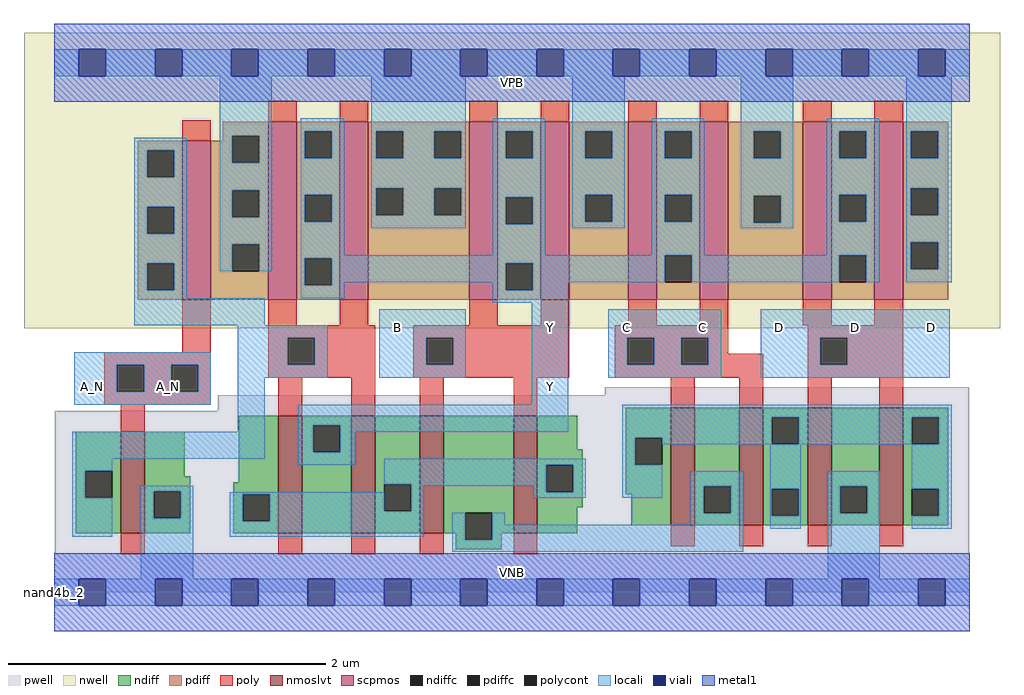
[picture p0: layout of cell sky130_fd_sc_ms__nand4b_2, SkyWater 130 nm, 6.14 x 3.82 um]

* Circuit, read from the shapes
.subckt sky130_fd_sc_ms__nand4b_2 A_N B C D VGND VNB VPB VPWR Y
XM1 VGND A_N n1 VNB sky130_fd_pr__nfet_01v8_lvt w=0.64 l=0.15
XM2 Y n1 n2 VNB sky130_fd_pr__nfet_01v8_lvt w=0.74 l=0.15 m=2
XM3 n3 B n2 VNB sky130_fd_pr__nfet_01v8_lvt w=0.74 l=0.15 m=2
XM4 n3 C n4 VNB sky130_fd_pr__nfet_01v8_lvt w=0.74 l=0.15 m=2
XM5 VGND D n4 VNB sky130_fd_pr__nfet_01v8_lvt w=0.74 l=0.15 m=2
XM6 VPWR A_N n1 VPB sky130_fd_pr__pfet_01v8 w=1 l=0.18
XM7 Y n1 VPWR VPB sky130_fd_pr__pfet_01v8 w=1.12 l=0.18 m=2
XM8 Y B VPWR VPB sky130_fd_pr__pfet_01v8 w=1.12 l=0.18 m=2
XM9 Y C VPWR VPB sky130_fd_pr__pfet_01v8 w=1.12 l=0.18 m=2
XM10 Y D VPWR VPB sky130_fd_pr__pfet_01v8 w=1.12 l=0.18 m=2
.ends

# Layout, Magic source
magic
tech sky130A
magscale 1 2
<< nwell >>
rect -38 332 1190 704
<< pwell >>
rect 693 248 1151 258
rect 206 228 1151 248
rect 1 49 1151 228
rect 0 0 1152 49
<< scpmos >>
rect 161 368 197 568
rect 269 368 305 592
rect 359 368 395 592
rect 522 368 558 592
rect 612 368 648 592
rect 722 368 758 592
rect 812 368 848 592
rect 942 368 978 592
rect 1032 368 1068 592
<< nmoslvt >>
rect 84 74 114 202
rect 282 74 312 222
rect 374 74 404 222
rect 460 74 490 222
rect 578 74 608 222
rect 776 84 806 232
rect 862 84 892 232
rect 948 84 978 232
rect 1038 84 1068 232
<< ndiff >>
rect 27 153 84 202
rect 27 119 39 153
rect 73 119 84 153
rect 27 74 84 119
rect 114 146 164 202
rect 114 127 171 146
rect 232 138 282 222
rect 114 93 125 127
rect 159 93 171 127
rect 114 74 171 93
rect 225 123 282 138
rect 225 89 237 123
rect 271 89 282 123
rect 225 74 282 89
rect 312 210 374 222
rect 312 176 326 210
rect 360 176 374 210
rect 312 74 374 176
rect 404 136 460 222
rect 404 102 415 136
rect 449 102 460 136
rect 404 74 460 102
rect 490 100 578 222
rect 490 74 517 100
rect 505 66 517 74
rect 551 74 578 100
rect 608 180 658 222
rect 719 194 776 232
rect 608 160 665 180
rect 608 126 619 160
rect 653 126 665 160
rect 608 107 665 126
rect 719 160 731 194
rect 765 160 776 194
rect 719 123 776 160
rect 608 74 658 107
rect 726 84 776 123
rect 806 133 862 232
rect 806 99 817 133
rect 851 99 862 133
rect 806 84 862 99
rect 892 220 948 232
rect 892 186 903 220
rect 937 186 948 220
rect 892 130 948 186
rect 892 96 903 130
rect 937 96 948 130
rect 892 84 948 96
rect 978 133 1038 232
rect 978 99 989 133
rect 1023 99 1038 133
rect 978 84 1038 99
rect 1068 220 1125 232
rect 1068 186 1079 220
rect 1113 186 1125 220
rect 1068 130 1125 186
rect 1068 96 1079 130
rect 1113 96 1125 130
rect 1068 84 1125 96
rect 551 66 563 74
rect 505 54 563 66
<< pdiff >>
rect 212 574 269 592
rect 212 568 224 574
rect 105 556 161 568
rect 105 522 117 556
rect 151 522 161 556
rect 105 485 161 522
rect 105 451 117 485
rect 151 451 161 485
rect 105 414 161 451
rect 105 380 117 414
rect 151 380 161 414
rect 105 368 161 380
rect 197 540 224 568
rect 258 540 269 574
rect 197 506 269 540
rect 197 472 224 506
rect 258 472 269 506
rect 197 438 269 472
rect 197 404 224 438
rect 258 404 269 438
rect 197 368 269 404
rect 305 580 359 592
rect 305 546 315 580
rect 349 546 359 580
rect 305 500 359 546
rect 305 466 315 500
rect 349 466 359 500
rect 305 420 359 466
rect 305 386 315 420
rect 349 386 359 420
rect 305 368 359 386
rect 395 580 522 592
rect 395 546 405 580
rect 439 546 478 580
rect 512 546 522 580
rect 395 508 522 546
rect 395 474 405 508
rect 439 474 478 508
rect 512 474 522 508
rect 395 368 522 474
rect 558 580 612 592
rect 558 546 568 580
rect 602 546 612 580
rect 558 497 612 546
rect 558 463 568 497
rect 602 463 612 497
rect 558 414 612 463
rect 558 380 568 414
rect 602 380 612 414
rect 558 368 612 380
rect 648 580 722 592
rect 648 546 668 580
rect 702 546 722 580
rect 648 500 722 546
rect 648 466 668 500
rect 702 466 722 500
rect 648 368 722 466
rect 758 580 812 592
rect 758 546 768 580
rect 802 546 812 580
rect 758 500 812 546
rect 758 466 768 500
rect 802 466 812 500
rect 758 424 812 466
rect 758 390 768 424
rect 802 390 812 424
rect 758 368 812 390
rect 848 580 942 592
rect 848 546 880 580
rect 914 546 942 580
rect 848 499 942 546
rect 848 465 880 499
rect 914 465 942 499
rect 848 368 942 465
rect 978 580 1032 592
rect 978 546 988 580
rect 1022 546 1032 580
rect 978 500 1032 546
rect 978 466 988 500
rect 1022 466 1032 500
rect 978 424 1032 466
rect 978 390 988 424
rect 1022 390 1032 424
rect 978 368 1032 390
rect 1068 580 1125 592
rect 1068 546 1078 580
rect 1112 546 1125 580
rect 1068 508 1125 546
rect 1068 474 1078 508
rect 1112 474 1125 508
rect 1068 440 1125 474
rect 1068 406 1078 440
rect 1112 406 1125 440
rect 1068 368 1125 406
<< ndiffc >>
rect 39 119 73 153
rect 125 93 159 127
rect 237 89 271 123
rect 326 176 360 210
rect 415 102 449 136
rect 517 66 551 100
rect 619 126 653 160
rect 731 160 765 194
rect 817 99 851 133
rect 903 186 937 220
rect 903 96 937 130
rect 989 99 1023 133
rect 1079 186 1113 220
rect 1079 96 1113 130
<< pdiffc >>
rect 117 522 151 556
rect 117 451 151 485
rect 117 380 151 414
rect 224 540 258 574
rect 224 472 258 506
rect 224 404 258 438
rect 315 546 349 580
rect 315 466 349 500
rect 315 386 349 420
rect 405 546 439 580
rect 478 546 512 580
rect 405 474 439 508
rect 478 474 512 508
rect 568 546 602 580
rect 568 463 602 497
rect 568 380 602 414
rect 668 546 702 580
rect 668 466 702 500
rect 768 546 802 580
rect 768 466 802 500
rect 768 390 802 424
rect 880 546 914 580
rect 880 465 914 499
rect 988 546 1022 580
rect 988 466 1022 500
rect 988 390 1022 424
rect 1078 546 1112 580
rect 1078 474 1112 508
rect 1078 406 1112 440
<< poly >>
rect 161 568 197 594
rect 269 592 305 618
rect 359 592 395 618
rect 522 592 558 618
rect 612 592 648 618
rect 722 592 758 618
rect 812 592 848 618
rect 942 592 978 618
rect 1032 592 1068 618
rect 161 302 197 368
rect 63 286 197 302
rect 63 252 79 286
rect 113 252 147 286
rect 181 252 197 286
rect 269 336 305 368
rect 359 336 395 368
rect 522 336 558 368
rect 612 336 648 368
rect 722 336 758 368
rect 812 336 848 368
rect 942 336 978 368
rect 1032 336 1068 368
rect 269 320 404 336
rect 269 286 294 320
rect 328 286 404 320
rect 269 270 404 286
rect 452 320 648 336
rect 452 286 468 320
rect 502 286 648 320
rect 452 270 648 286
rect 705 320 848 336
rect 705 286 721 320
rect 755 286 789 320
rect 823 300 848 320
rect 948 320 1068 336
rect 823 286 892 300
rect 705 270 892 286
rect 63 236 197 252
rect 84 202 114 236
rect 282 222 312 270
rect 374 222 404 270
rect 460 222 490 270
rect 578 222 608 270
rect 776 232 806 270
rect 862 232 892 270
rect 948 286 964 320
rect 998 286 1068 320
rect 948 270 1068 286
rect 948 232 978 270
rect 1038 232 1068 270
rect 84 48 114 74
rect 282 48 312 74
rect 374 48 404 74
rect 460 48 490 74
rect 578 48 608 74
rect 776 58 806 84
rect 862 58 892 84
rect 948 58 978 84
rect 1038 58 1068 84
<< polycont >>
rect 79 252 113 286
rect 147 252 181 286
rect 294 286 328 320
rect 468 286 502 320
rect 721 286 755 320
rect 789 286 823 320
rect 964 286 998 320
<< locali >>
rect 0 649 31 683
rect 65 649 127 683
rect 161 649 223 683
rect 257 649 319 683
rect 353 649 415 683
rect 449 649 511 683
rect 545 649 607 683
rect 641 649 703 683
rect 737 649 799 683
rect 833 649 895 683
rect 929 649 991 683
rect 1025 649 1087 683
rect 1121 649 1152 683
rect 208 574 274 649
rect 101 556 167 572
rect 101 522 117 556
rect 151 522 167 556
rect 101 485 167 522
rect 101 451 117 485
rect 151 451 167 485
rect 101 414 167 451
rect 101 380 117 414
rect 151 380 167 414
rect 208 540 224 574
rect 258 540 274 574
rect 208 506 274 540
rect 208 472 224 506
rect 258 472 274 506
rect 208 438 274 472
rect 208 404 224 438
rect 258 404 274 438
rect 310 580 365 596
rect 310 546 315 580
rect 349 546 365 580
rect 310 500 365 546
rect 310 466 315 500
rect 349 466 365 500
rect 310 424 365 466
rect 399 580 518 649
rect 399 546 405 580
rect 439 546 478 580
rect 512 546 518 580
rect 399 508 518 546
rect 399 474 405 508
rect 439 474 478 508
rect 512 474 518 508
rect 399 458 518 474
rect 552 580 618 596
rect 552 546 568 580
rect 602 546 618 580
rect 552 497 618 546
rect 552 463 568 497
rect 602 463 618 497
rect 552 424 618 463
rect 652 580 718 649
rect 652 546 668 580
rect 702 546 718 580
rect 652 500 718 546
rect 652 466 668 500
rect 702 466 718 500
rect 652 458 718 466
rect 752 580 818 596
rect 752 546 768 580
rect 802 546 818 580
rect 752 500 818 546
rect 752 466 768 500
rect 802 466 818 500
rect 752 424 818 466
rect 864 580 930 649
rect 864 546 880 580
rect 914 546 930 580
rect 864 499 930 546
rect 864 465 880 499
rect 914 465 930 499
rect 864 458 930 465
rect 972 580 1038 596
rect 972 546 988 580
rect 1022 546 1038 580
rect 972 500 1038 546
rect 972 466 988 500
rect 1022 466 1038 500
rect 972 424 1038 466
rect 310 420 768 424
rect 101 370 167 380
rect 310 386 315 420
rect 349 414 768 420
rect 349 390 568 414
rect 349 386 365 390
rect 310 370 365 386
rect 552 380 568 390
rect 602 390 768 414
rect 802 390 988 424
rect 1022 390 1038 424
rect 1072 580 1129 649
rect 1072 546 1078 580
rect 1112 546 1129 580
rect 1072 508 1129 546
rect 1072 474 1078 508
rect 1112 474 1129 508
rect 1072 440 1129 474
rect 1072 406 1078 440
rect 1112 406 1129 440
rect 1072 390 1129 406
rect 602 380 647 390
rect 101 336 265 370
rect 552 364 647 380
rect 231 320 344 336
rect 25 286 197 302
rect 25 252 79 286
rect 113 252 147 286
rect 181 252 197 286
rect 25 236 197 252
rect 231 286 294 320
rect 328 286 344 320
rect 231 270 344 286
rect 409 320 518 356
rect 409 286 468 320
rect 502 286 518 320
rect 409 270 518 286
rect 231 202 265 270
rect 601 236 647 364
rect 697 320 839 356
rect 697 286 721 320
rect 755 286 789 320
rect 823 286 839 320
rect 697 270 839 286
rect 889 320 1127 356
rect 889 286 964 320
rect 998 286 1127 320
rect 889 270 1127 286
rect 23 168 265 202
rect 307 210 647 236
rect 307 176 326 210
rect 360 202 647 210
rect 715 220 1129 236
rect 360 176 379 202
rect 23 153 73 168
rect 307 160 379 176
rect 715 194 903 220
rect 415 160 669 168
rect 23 119 39 153
rect 415 136 619 160
rect 23 70 73 119
rect 109 127 175 134
rect 109 93 125 127
rect 159 93 175 127
rect 109 17 175 93
rect 221 123 415 126
rect 221 89 237 123
rect 271 102 415 123
rect 449 134 619 136
rect 449 102 465 134
rect 603 126 619 134
rect 653 126 669 160
rect 603 119 669 126
rect 715 160 731 194
rect 765 186 903 194
rect 937 186 1079 220
rect 1113 186 1129 220
rect 715 119 765 160
rect 801 133 867 152
rect 271 89 465 102
rect 221 70 465 89
rect 501 66 517 100
rect 551 85 567 100
rect 801 99 817 133
rect 851 99 867 133
rect 801 85 867 99
rect 551 66 867 85
rect 901 130 939 186
rect 901 96 903 130
rect 937 96 939 130
rect 901 80 939 96
rect 973 133 1039 152
rect 973 99 989 133
rect 1023 99 1039 133
rect 501 51 867 66
rect 973 17 1039 99
rect 1079 130 1129 186
rect 1113 96 1129 130
rect 1079 80 1129 96
rect 0 -17 31 17
rect 65 -17 127 17
rect 161 -17 223 17
rect 257 -17 319 17
rect 353 -17 415 17
rect 449 -17 511 17
rect 545 -17 607 17
rect 641 -17 703 17
rect 737 -17 799 17
rect 833 -17 895 17
rect 929 -17 991 17
rect 1025 -17 1087 17
rect 1121 -17 1152 17
<< viali >>
rect 31 649 65 683
rect 127 649 161 683
rect 223 649 257 683
rect 319 649 353 683
rect 415 649 449 683
rect 511 649 545 683
rect 607 649 641 683
rect 703 649 737 683
rect 799 649 833 683
rect 895 649 929 683
rect 991 649 1025 683
rect 1087 649 1121 683
rect 31 -17 65 17
rect 127 -17 161 17
rect 223 -17 257 17
rect 319 -17 353 17
rect 415 -17 449 17
rect 511 -17 545 17
rect 607 -17 641 17
rect 703 -17 737 17
rect 799 -17 833 17
rect 895 -17 929 17
rect 991 -17 1025 17
rect 1087 -17 1121 17
<< metal1 >>
rect 0 683 1152 715
rect 0 649 31 683
rect 65 649 127 683
rect 161 649 223 683
rect 257 649 319 683
rect 353 649 415 683
rect 449 649 511 683
rect 545 649 607 683
rect 641 649 703 683
rect 737 649 799 683
rect 833 649 895 683
rect 929 649 991 683
rect 1025 649 1087 683
rect 1121 649 1152 683
rect 0 617 1152 649
rect 0 17 1152 49
rect 0 -17 31 17
rect 65 -17 127 17
rect 161 -17 223 17
rect 257 -17 319 17
rect 353 -17 415 17
rect 449 -17 511 17
rect 545 -17 607 17
rect 641 -17 703 17
rect 737 -17 799 17
rect 833 -17 895 17
rect 929 -17 991 17
rect 1025 -17 1087 17
rect 1121 -17 1152 17
rect 0 -49 1152 -17
<< labels >>
flabel pwell s 0 0 1152 49 0 FreeSans 200 0 0 0 VNB
port 6 nsew ground bidirectional
flabel nwell s 0 617 1152 666 0 FreeSans 200 0 0 0 VPB
port 7 nsew power bidirectional
rlabel comment s 0 0 0 0 4 nand4b_2
flabel metal1 s 0 617 1152 666 0 FreeSans 340 0 0 0 VPWR
port 8 nsew power bidirectional
flabel metal1 s 0 0 1152 49 0 FreeSans 340 0 0 0 VGND
port 5 nsew ground bidirectional
flabel locali s 607 242 641 276 0 FreeSans 340 0 0 0 Y
port 9 nsew signal output
flabel locali s 607 316 641 350 0 FreeSans 340 0 0 0 Y
port 9 nsew signal output
flabel locali s 31 242 65 276 0 FreeSans 340 0 0 0 A_N
port 1 nsew signal input
flabel locali s 127 242 161 276 0 FreeSans 340 0 0 0 A_N
port 1 nsew signal input
flabel locali s 895 316 929 350 0 FreeSans 340 0 0 0 D
port 4 nsew signal input
flabel locali s 991 316 1025 350 0 FreeSans 340 0 0 0 D
port 4 nsew signal input
flabel locali s 1087 316 1121 350 0 FreeSans 340 0 0 0 D
port 4 nsew signal input
flabel locali s 703 316 737 350 0 FreeSans 340 0 0 0 C
port 3 nsew signal input
flabel locali s 799 316 833 350 0 FreeSans 340 0 0 0 C
port 3 nsew signal input
flabel locali s 415 316 449 350 0 FreeSans 340 0 0 0 B
port 2 nsew signal input
<< properties >>
string LEFsite unit
string LEFclass CORE
string FIXED_BBOX 0 0 1152 666
string GDS_FILE $PDKPATH/libs.ref/sky130_fd_sc_ms/gds/sky130_fd_sc_ms.gds
string LEFsymmetry X Y
string GDS_END 750884
string GDS_START 740982
<< end >>
